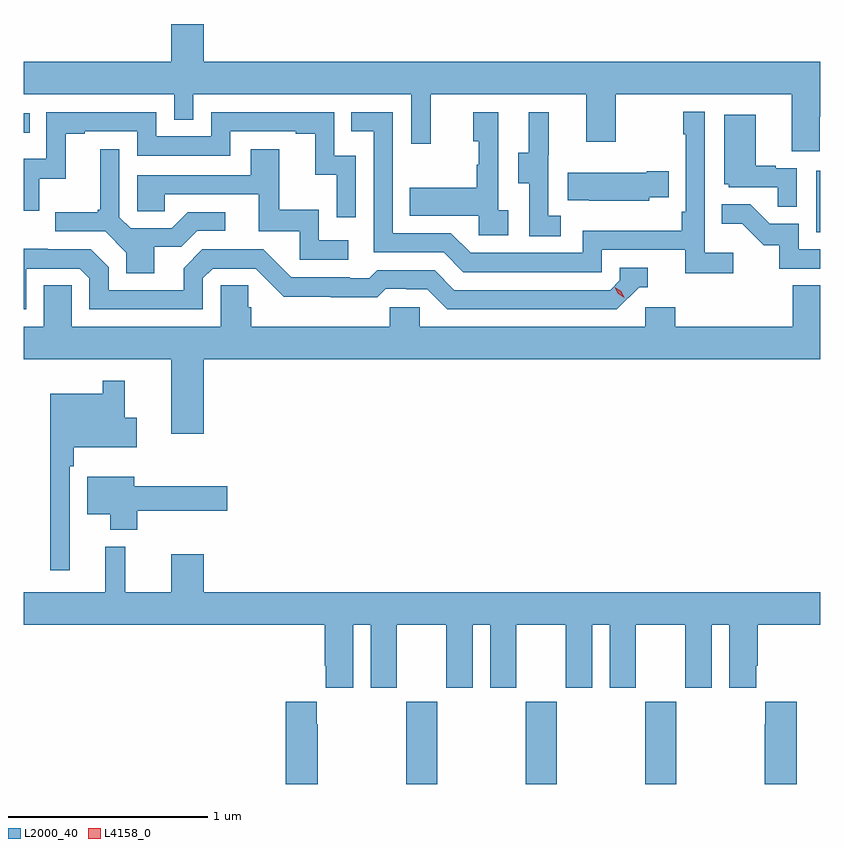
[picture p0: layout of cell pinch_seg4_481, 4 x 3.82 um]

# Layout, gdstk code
import gdstk
lib = gdstk.Library(unit=1e-6, precision=1e-09)
def R(c, l, rs):  # rectangles x0, y0, x1, y1
    for r in rs: c.add(gdstk.rectangle(r[:2], r[2:], *l))
def A(c, l, x, y, w, h, nx, ny, dx, dy):  # array of equal rectangles
    R(c, l, [(x+i*dx, y+j*dy, x+i*dx+w, y+j*dy+h) for i in range(nx) for j in range(ny)])
def P(c, l, *ps):  # polygons
    for p in ps: c.add(gdstk.Polygon(p, *l))
L2000_40 = (2000, 40)
L4158_0 = (4158, 0)

pinch_seg4_481 = lib.new_cell('pinch_seg4_481')
A(pinch_seg4_481, L2000_40, 945.409, 749.4, 0.155, 0.412, 3, 1, 0.6, 0)
R(pinch_seg4_481, L2000_40, [(947.468,752.172,947.488,752.479), (943.488,752.672,943.517,752.769)])
P(pinch_seg4_481, L2000_40, [(947.485,752.752),(947.488,752.752),(947.488,753.028),(944.392,753.028),(944.392,753.217),(944.228,753.217),(944.228,753.028),(943.488,753.028),(943.488,752.864),(944.244,752.864),(944.244,752.737),(944.34,752.737),(944.34,752.864),(945.435,752.864),(945.435,752.616),(945.533,752.616),(945.533,752.864),(946.313,752.864),(946.313,752.625),(946.461,752.625),(946.461,752.864),(947.345,752.864),(947.345,752.578),(947.485,752.578)],
  [(947.05,752.068),(946.908,752.068),(946.908,752.776),(946.8,752.776),(946.8,752.663),(946.812,752.663),(946.812,752.275),(946.792,752.275),(946.792,752.179),(946.296,752.179),(946.296,752.067),(945.732,752.067),(945.633,752.166),(945.342,752.166),(945.342,752.775),(945.133,752.775),(945.133,752.679),(945.246,752.679),(945.246,752.07),(945.596,752.07),(945.695,751.971),(946.392,751.971),(946.392,752.082),(946.811,752.082),(946.811,751.966),(947.05,751.966)],
  [(945.156,752.556),(945.048,752.556),(945.048,752.775),(944.43,752.775),(944.43,752.652),(944.154,752.652),(944.154,752.775),(943.602,752.775),(943.602,752.539),(943.488,752.539),(943.488,752.28),(943.566,752.28),(943.566,752.441),(943.699,752.441),(943.699,752.667),(943.795,752.667),(943.795,752.679),(944.058,752.679),(944.058,752.556),(944.526,752.556),(944.526,752.679),(944.855,752.679),(944.855,752.667),(944.951,752.667),(944.951,752.459),(945.06,752.459),(945.06,752.247),(945.156,752.247)],
  [(946.186,752.255),(946.122,752.255),(946.122,752.559),(946.124,752.559),(946.124,752.773),(946.025,752.773),(946.025,752.571),(945.971,752.571),(945.971,752.416),(946.026,752.416),(946.026,752.152),(946.186,752.152)],
  [(945.922,752.282),(945.87,752.282),(945.87,752.773),(945.746,752.773),(945.746,752.628),(945.772,752.628),(945.772,752.51),(945.762,752.51),(945.762,752.395),(945.427,752.395),(945.427,752.255),(945.774,752.255),(945.774,752.157),(945.922,752.157)],
  [(947.37,752.493),(947.264,752.493),(947.264,752.506),(947.164,752.506),(947.164,752.761),(947.006,752.761),(947.006,752.412),(947.028,752.412),(947.028,752.397),(947.275,752.397),(947.275,752.299),(947.37,752.299)],
  [(944.143,752.098),(944.278,752.098),(944.358,752.178),(944.5,752.178),(944.5,752.271),(944.312,752.271),(944.231,752.19),(944.025,752.19),(943.968,752.247),(943.968,752.587),(943.871,752.587),(943.871,752.284),(943.86,752.284),(943.86,752.272),(943.647,752.272),(943.647,752.175),(943.896,752.175),(944.003,752.068),(944.003,751.966),(944.143,751.966)],
  [(945.118,752.13),(944.97,752.13),(944.97,752.284),(944.771,752.284),(944.771,752.587),(944.627,752.587),(944.627,752.457),(944.058,752.457),(944.058,752.277),(944.195,752.277),(944.195,752.361),(944.669,752.361),(944.669,752.175),(944.874,752.175),(944.874,752.034),(945.118,752.034)],
  [(946.629,752.348),(946.727,752.348),(946.727,752.478),(946.616,752.478),(946.616,752.47),(946.219,752.47),(946.219,752.333),(946.327,752.333),(946.327,752.33),(946.629,752.33)],
  [(947.488,752.085),(947.379,752.085),(947.379,752.214),(947.235,752.214),(947.137,752.312),(946.993,752.312),(946.993,752.213),(947.097,752.213),(947.204,752.106),(947.281,752.106),(947.281,751.989),(947.488,751.989)],
  [(943.5,751.989),(943.77,751.989),(943.818,751.941),(943.818,751.785),(944.388,751.785),(944.388,751.941),(944.436,751.989),(944.652,751.989),(944.794,751.847),(945.03,751.847),(945.03,751.845),(945.263,751.845),(945.305,751.887),(945.408,751.887),(945.408,751.884),(945.515,751.884),(945.614,751.785),(946.467,751.785),(946.578,751.896),(946.621,751.896),(946.621,751.992),(946.482,751.992),(946.482,751.929),(946.434,751.881),(945.651,751.881),(945.552,751.98),(945.263,751.98),(945.224,751.941),(945.125,751.941),(945.125,751.944),(944.832,751.944),(944.691,752.085),(944.385,752.085),(944.291,751.991),(944.291,751.881),(943.914,751.881),(943.914,751.995),(943.824,752.085),(943.608,752.085),(943.608,752.087),(943.488,752.087),(943.488,751.785),(943.5,751.785)],
  [(944.392,751.532),(947.488,751.532),(947.488,751.904),(947.351,751.904),(947.351,751.696),(946.76,751.696),(946.76,751.794),(946.608,751.794),(946.608,751.696),(945.477,751.696),(945.477,751.794),(945.327,751.794),(945.327,751.696),(944.63,751.696),(944.63,751.794),(944.615,751.794),(944.615,751.904),(944.478,751.904),(944.478,751.696),(943.728,751.696),(943.728,751.904),(943.589,751.904),(943.589,751.696),(943.488,751.696),(943.488,751.532),(944.228,751.532),(944.228,751.158),(944.392,751.158)],
  [(943.719,750.995),(943.739,750.995),(943.739,751.091),(944.056,751.091),(944.056,751.239),(943.995,751.239),(943.995,751.426),(943.884,751.426),(943.884,751.36),(943.622,751.36),(943.622,750.474),(943.719,750.474)],
  [(944.057,750.773),(944.509,750.773),(944.509,750.895),(944.044,750.895),(944.044,750.943),(943.808,750.943),(943.808,750.755),(943.922,750.755),(943.922,750.677),(944.057,750.677)],
  [(945.142,750.2),(945.23,750.2),(945.23,749.883),(945.361,749.883),(945.361,750.2),(945.611,750.2),(945.611,749.883),(945.742,749.883),(945.742,750.2),(945.83,750.2),(945.83,749.883),(945.961,749.883),(945.961,750.2),(946.211,750.2),(946.211,749.883),(946.342,749.883),(946.342,750.2),(946.43,750.2),(946.43,749.883),(946.561,749.883),(946.561,750.2),(946.811,750.2),(946.811,749.883),(946.942,749.883),(946.942,750.2),(947.03,750.2),(947.03,749.883),(947.167,749.883),(947.167,749.995),(947.174,749.995),(947.174,750.2),(947.488,750.2),(947.488,750.364),(944.392,750.364),(944.392,750.553),(944.228,750.553),(944.228,750.364),(943.998,750.364),(943.998,750.592),(943.898,750.592),(943.898,750.364),(943.488,750.364),(943.488,750.2),(944.999,750.2),(944.999,749.995),(945.005,749.995),(945.005,749.883),(945.142,749.883)],
  [(944.964,749.699),(944.959,749.699),(944.959,749.812),(944.804,749.812),(944.804,749.4),(944.964,749.4)],
  [(947.369,749.812),(947.213,749.812),(947.213,749.699),(947.209,749.699),(947.209,749.4),(947.369,749.4)])
P(pinch_seg4_481, L4158_0, [(946.504,751.842),(946.473,751.861),(946.457,751.894),(946.457,751.894),(946.457,751.894),(946.488,751.875),(946.504,751.842),(946.504,751.842)])

lib.write_gds('pinch_seg4_481.gds')
